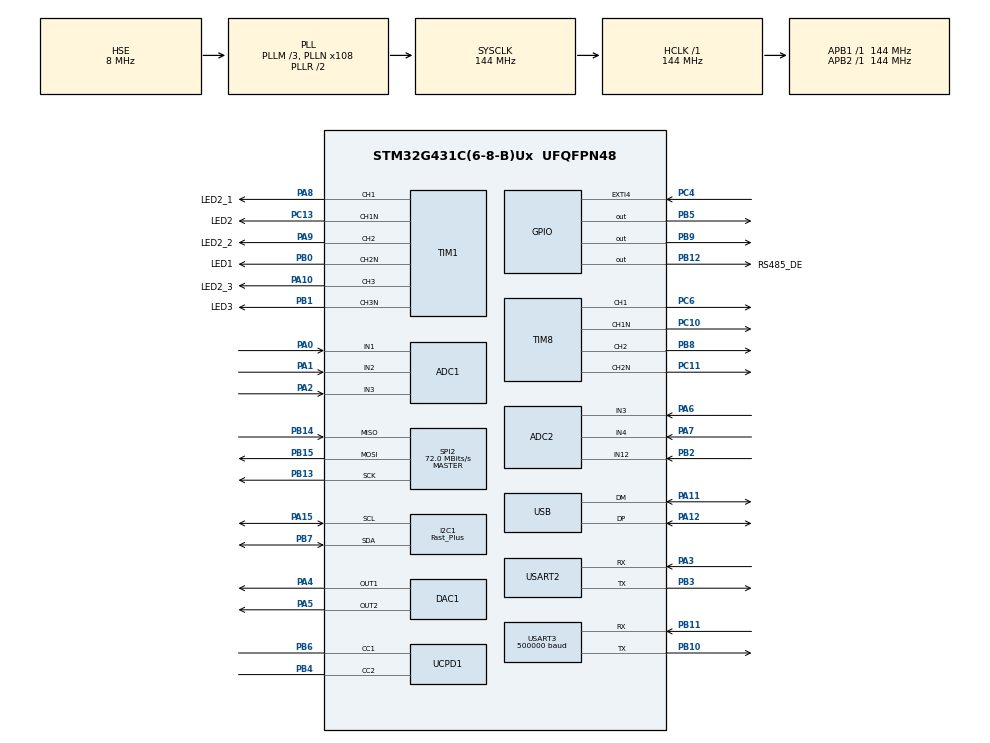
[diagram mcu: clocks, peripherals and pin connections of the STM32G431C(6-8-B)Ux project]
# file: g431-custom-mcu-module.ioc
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ADC1.Channel-0\#ChannelRegularConversion=ADC_CHANNEL_1
ADC1.NbrOfConversionFlag=1
ADC1.OffsetNumber-0\#ChannelRegularConversion=ADC_OFFSET_NONE
ADC1.Rank-0\#ChannelRegularConversion=1
ADC1.SamplingTime-0\#ChannelRegularConversion=ADC_SAMPLETIME_2CYCLES_5
ADC1.master=1
ADC2.Channel-0\#ChannelRegularConversion=ADC_CHANNEL_3
ADC2.NbrOfConversionFlag=1
ADC2.OffsetNumber-0\#ChannelRegularConversion=ADC_OFFSET_NONE
ADC2.Rank-0\#ChannelRegularConversion=1
ADC2.SamplingTime-0\#ChannelRegularConversion=ADC_SAMPLETIME_2CYCLES_5
DAC1.DAC_Channel-DAC_OUT2=DAC_CHANNEL_2
I2C1.I2C_Speed_Mode=I2C_Fast_Plus
I2C1.Timing=0x0070215B
Mcu.Family=STM32G4
Mcu.Name=STM32G431C(6-8-B)Ux
Mcu.Package=UFQFPN48
NVIC.EXTI4_IRQn=true\:0\:0\:false\:false\:true\:true\:true\:true
NVIC.PriorityGroup=NVIC_PRIORITYGROUP_4
NVIC.RNG_IRQn=true\:0\:0\:false\:false\:true\:true\:true\:true
NVIC.UCPD1_IRQn=true\:0\:0\:false\:false\:true\:true\:false\:true
NVIC.USART3_IRQn=true\:0\:0\:false\:false\:true\:true\:true\:true
PA0.Mode=IN1-Single-Ended
PA0.Signal=ADC1_IN1
PA1.Mode=IN2-Single-Ended
PA1.Signal=ADC1_IN2
PA10.GPIO_Label=LED2_3
PA10.Signal=S_TIM1_CH3
PA11.Mode=Device
PA11.Signal=USB_DM
PA12.Mode=Device
PA12.Signal=USB_DP
PA13.Mode=Serial_Wire
PA13.Signal=SYS_JTMS-SWDIO
PA14.Mode=Serial_Wire
PA14.Signal=SYS_JTCK-SWCLK
PA15.Mode=I2C
PA15.Signal=I2C1_SCL
PA2.Mode=IN3-Single-Ended
PA2.Signal=ADC1_IN3
PA3.Mode=Asynchronous
PA3.Signal=USART2_RX
PA4.Signal=COMP_DAC11_group
PA5.Signal=COMP_DAC12_group
PA6.Mode=IN3-Single-Ended
PA6.Signal=ADC2_IN3
PA7.Mode=IN4-Single-Ended
PA7.Signal=ADC2_IN4
PA8.GPIO_Label=LED2_1
PA8.Signal=S_TIM1_CH1
PA9.GPIO_Label=LED2_2
PA9.Signal=S_TIM1_CH2
PB0.GPIO_Label=LED1
PB0.Mode=PWM Generation2 CH2 CH2N
PB0.Signal=TIM1_CH2N
PB1.GPIO_Label=LED3
PB1.Mode=PWM Generation3 CH3 CH3N
PB1.Signal=TIM1_CH3N
PB10.Mode=Asynchronous
PB10.Signal=USART3_TX
PB11.Mode=Asynchronous
PB11.Signal=USART3_RX
PB12.GPIO_Label=RS485_DE
PB12.Signal=GPIO_Output
PB13.Mode=Full_Duplex_Master
PB13.Signal=SPI2_SCK
PB14.Mode=Full_Duplex_Master
PB14.Signal=SPI2_MISO
PB15.Mode=Full_Duplex_Master
PB15.Signal=SPI2_MOSI
PB2.Mode=IN12-Single-Ended
PB2.Signal=ADC2_IN12
PB3.Mode=Asynchronous
PB3.Signal=USART2_TX
PB4.Mode=Dual_Role_AllSignals
PB4.Signal=UCPD1_CC2
PB5.Signal=GPIO_Output
PB6.Mode=Dual_Role_AllSignals
PB6.Signal=UCPD1_CC1
PB7.Mode=I2C
PB7.Signal=I2C1_SDA
PB8-BOOT0.Signal=S_TIM8_CH2
PB9.Signal=GPIO_Output
PC10.Mode=PWM Generation1 CH1 CH1N
PC10.Signal=TIM8_CH1N
PC11.Mode=PWM Generation2 CH2 CH2N
PC11.Signal=TIM8_CH2N
PC13.GPIO_Label=LED2
PC13.Mode=PWM Generation1 CH1 CH1N
PC13.Signal=TIM1_CH1N
PC14-OSC32_IN.Mode=LSE-External-Oscillator
PC14-OSC32_IN.Signal=RCC_OSC32_IN
PC15-OSC32_OUT.Mode=LSE-External-Oscillator
PC15-OSC32_OUT.Signal=RCC_OSC32_OUT
PC4.GPIO_ModeDefaultEXTI=GPIO_MODE_IT_RISING_FALLING
PC4.Signal=GPXTI4
PC6.Signal=S_TIM8_CH1
PF0-OSC_IN.Mode=HSE-External-Oscillator
PF0-OSC_IN.Signal=RCC_OSC_IN
PF1-OSC_OUT.Mode=HSE-External-Oscillator
PF1-OSC_OUT.Signal=RCC_OSC_OUT
ProjectManager.HeapSize=0x200
ProjectManager.StackSize=0x400
ProjectManager.TargetToolchain=MDK-ARM V5.32
RCC.ADC12Freq_Value=144000000
RCC.AHBFreq_Value=144000000
RCC.APB1Freq_Value=144000000
RCC.APB1TimFreq_Value=144000000
RCC.APB2Freq_Value=144000000
RCC.APB2TimFreq_Value=144000000
RCC.CortexFreq_Value=144000000
RCC.EXTERNAL_CLOCK_VALUE=12288000
RCC.HCLKFreq_Value=144000000
RCC.HSE_VALUE=8000000
RCC.HSI48_VALUE=48000000
RCC.HSI_VALUE=16000000
RCC.PLLM=RCC_PLLM_DIV3
RCC.PLLN=108
RCC.PLLQ=RCC_PLLQ_DIV6
RCC.PLLSourceVirtual=RCC_PLLSOURCE_HSE
RCC.SYSCLKFreq_VALUE=144000000
RCC.SYSCLKSource=RCC_SYSCLKSOURCE_PLLCLK
RCC.USBFreq_Value=48000000
RCC.VCOOutputFreq_Value=288000000
SH.COMP_DAC11_group.0=DAC1_OUT1,DAC_OUT1
SH.COMP_DAC12_group.0=DAC1_OUT2,DAC_OUT2
SH.S_TIM1_CH1.0=TIM1_CH1,PWM Generation1 CH1 CH1N
SH.S_TIM1_CH2.0=TIM1_CH2,PWM Generation2 CH2 CH2N
SH.S_TIM1_CH3.0=TIM1_CH3,PWM Generation3 CH3 CH3N
SH.S_TIM8_CH1.0=TIM8_CH1,PWM Generation1 CH1 CH1N
SH.S_TIM8_CH2.0=TIM8_CH2,PWM Generation2 CH2 CH2N
SPI2.CalculateBaudRate=72.0 MBits/s
SPI2.Direction=SPI_DIRECTION_2LINES
SPI2.Mode=SPI_MODE_MASTER
SPI2.VirtualType=VM_MASTER
TIM1.Channel-PWM\ Generation1\ CH1\ CH1N=TIM_CHANNEL_1
TIM1.Channel-PWM\ Generation2\ CH2\ CH2N=TIM_CHANNEL_2
TIM1.Channel-PWM\ Generation3\ CH3\ CH3N=TIM_CHANNEL_3
TIM8.Channel-PWM\ Generation1\ CH1\ CH1N=TIM_CHANNEL_1
TIM8.Channel-PWM\ Generation2\ CH2\ CH2N=TIM_CHANNEL_2
USART2.VirtualMode-Asynchronous=VM_ASYNC
USART3.BaudRate=500000
USART3.VirtualMode-Asynchronous=VM_ASYNC
VP_RNG_VS_RNG.Mode=RNG_Activate
VP_SYS_VS_DBSignals.Mode=DisableDeadBatterySignals
VP_TIM1_VS_ClockSourceINT.Mode=Internal
VP_TIM8_VS_ClockSourceINT.Mode=Internal
board=custom

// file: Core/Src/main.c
/* USER CODE BEGIN Header */
/**
 ******************************************************************************
 * @file           : main.c
 * @brief          : Main program body
 ******************************************************************************
 * @attention
 *
 * Copyright (c) 2023 STMicroelectronics.
 * All rights reserved.
 *
 * This software is licensed under terms that can be found in the LICENSE file
 * in the root directory of this software component.
 * If no LICENSE file comes with this software, it is provided AS-IS.
 *
 ******************************************************************************
 */
/* USER CODE END Header */
#include "main.h"
#include "adc.h"
#include "dac.h"
#include "gpio.h"
#include "i2c.h"
#include "rng.h"
#include "spi.h"
#include "tim.h"
#include "ucpd.h"
#include "usart.h"
#include "usb.h"

/* USER CODE BEGIN Includes */
#include "ring_buffer.h"
/* USER CODE END Includes */

/* USER CODE BEGIN PV */
rb_t ring_buffer = {
    .huart = &huart2,
};
uint8_t flag = 0;
uint32_t random_num;

uint8_t min_index = 1;
uint8_t max_index = 109;
int8_t Y;
/* USER CODE END PV */

void SystemClock_Config(void);
/* USER CODE BEGIN PFP */
int interpret_num(int y);
int ipow(int base, int exp);
int eu_mod(int x, int y);
uint8_t mod(int8_t num)
{
  if (num < 0)
    return -num;
  return num;
}
/* USER CODE END PFP */

int main(void)
{

  /* MCU Configuration--------------------------------------------------------*/

  /* Reset of all peripherals, Initializes the Flash interface and the Systick. */
  HAL_Init();

  /* Configure the system clock */
  SystemClock_Config();

  /* Initialize all configured peripherals */
  MX_GPIO_Init();
  MX_ADC1_Init();
  MX_ADC2_Init();
  MX_DAC1_Init();
  MX_SPI2_Init();
  MX_TIM1_Init();
  MX_TIM8_Init();
  MX_UCPD1_Init();
  MX_USART2_UART_Init();
  MX_USART3_UART_Init();
  MX_USB_PCD_Init();
  MX_I2C1_Init();
  MX_RNG_Init();
  /* USER CODE BEGIN 2 */
  ring_buf_init(&ring_buffer, &huart3);
  HAL_UART_Transmit(&huart3, (uint8_t *)"hello", 6, 1000);

  HAL_SuspendTick();

  HAL_PWR_EnterSTOPMode(PWR_LOWPOWERREGULATOR_ON, PWR_STOPENTRY_WFI);
  SystemClock_Config();
  HAL_ResumeTick();

  HAL_UART_Transmit(&huart3, (uint8_t *)"hello", 6, 1000);
  /* USER CODE END 2 */

  /* Infinite loop */
  while (1)
  {

    /* USER CODE BEGIN 3 */
    HAL_RNG_GenerateRandomNumber(&hrng, &random_num); // generate a random num in range [0 - 0xFFFF FFFF]
    random_num %= ((50 + 1 - 1) + 1);

    uint8_t data[random_num];
    for (uint8_t i = 0; i < random_num; i++)
    {
      data[i] = random_num >> 2;
      ring_buff_put(&ring_buffer, data[i]);
      HAL_Delay(random_num);
      if (ring_buf_get_empty_slots(&ring_buffer) == 0)
      {
        Y = ring_buf_get_head(&ring_buffer);
        int mod_y = mod(Y);
        if (mod_y < 10)
        {
          uint16_t num_of_six;
          uint8_t SSB;
          num_of_six = interpret_num(mod_y);
          SSB = (0xFF00 & num_of_six) >> 8;
          HAL_UART_Transmit(&huart3, (uint8_t *)SSB, 1, 100);
        }
        else
        {
          HAL_UART_Transmit(&huart3, (uint8_t *)Y, 1, 100);
        }
        break;
      }
    }
  }
  /* USER CODE END 3 */
}

void SystemClock_Config(void)
{
  RCC_OscInitTypeDef RCC_OscInitStruct = {0};
  RCC_ClkInitTypeDef RCC_ClkInitStruct = {0};

  /** Configure the main internal regulator output voltage
   */
  HAL_PWREx_ControlVoltageScaling(PWR_REGULATOR_VOLTAGE_SCALE1);

  /** Initializes the RCC Oscillators according to the specified parameters
   * in the RCC_OscInitTypeDef structure.
   */
  RCC_OscInitStruct.OscillatorType = RCC_OSCILLATORTYPE_HSI | RCC_OSCILLATORTYPE_HSE;
  RCC_OscInitStruct.HSEState = RCC_HSE_ON;
  RCC_OscInitStruct.HSIState = RCC_HSI_ON;
  RCC_OscInitStruct.HSICalibrationValue = RCC_HSICALIBRATION_DEFAULT;
  RCC_OscInitStruct.PLL.PLLState = RCC_PLL_ON;
  RCC_OscInitStruct.PLL.PLLSource = RCC_PLLSOURCE_HSE;
  RCC_OscInitStruct.PLL.PLLM = RCC_PLLM_DIV3;
  RCC_OscInitStruct.PLL.PLLN = 108;
  RCC_OscInitStruct.PLL.PLLP = RCC_PLLP_DIV2;
  RCC_OscInitStruct.PLL.PLLQ = RCC_PLLQ_DIV6;
  RCC_OscInitStruct.PLL.PLLR = RCC_PLLR_DIV2;
  if (HAL_RCC_OscConfig(&RCC_OscInitStruct) != HAL_OK)
  {
    Error_Handler();
  }

  /** Initializes the CPU, AHB and APB buses clocks
   */
  RCC_ClkInitStruct.ClockType = RCC_CLOCKTYPE_HCLK | RCC_CLOCKTYPE_SYSCLK | RCC_CLOCKTYPE_PCLK1 | RCC_CLOCKTYPE_PCLK2;
  RCC_ClkInitStruct.SYSCLKSource = RCC_SYSCLKSOURCE_PLLCLK;
  RCC_ClkInitStruct.AHBCLKDivider = RCC_SYSCLK_DIV1;
  RCC_ClkInitStruct.APB1CLKDivider = RCC_HCLK_DIV1;
  RCC_ClkInitStruct.APB2CLKDivider = RCC_HCLK_DIV1;

  if (HAL_RCC_ClockConfig(&RCC_ClkInitStruct, FLASH_LATENCY_4) != HAL_OK)
  {
    Error_Handler();
  }
}

/* USER CODE BEGIN 4 */
void HAL_GPIO_EXTI_Callback(uint16_t pin)
{
  if (pin == GPIO_PIN_4)
  {
    flag = 1;
  }
}

int interpret_num(int y)
{
  // count num of "6" in district with 10 in pow(y) buildings
  // available nums: [1 - 109]
  // num of "6": (11 + 1) for each range [1-109]
  uint32_t buildings_count; // as we can reach 10 in power of 9, use 32bit var;
  uint32_t num_of_ranges;
  uint16_t num_of_nums;
  uint16_t rest;
  uint16_t total;
  // calculate pow(10, Y), as we work with integer, we don't have to use
  // math.h pow func, that uses double
  buildings_count = ipow(10, y);
  // calc num of ranges[1-109]
  if (buildings_count == 1)
  {
    return 0;
  }
  num_of_ranges = buildings_count / 109;
  if (num_of_ranges <= 1)
  {
    num_of_ranges = buildings_count / 10;
    num_of_nums = 1;
    if (num_of_ranges > 6)
      num_of_nums = num_of_ranges + 1;
    return num_of_nums;
  }
  num_of_nums = num_of_ranges * 12;
  rest = eu_mod(buildings_count, 12);
  total = rest + num_of_nums;
  return total;
}

int ipow(int base, int exp)
{
  int result = 1;
  for (;;)
  {
    if (exp & 1)
      result *= base;
    exp >>= 1;
    if (!exp)
      break;
    base *= base;
  }

  return result;
}

// euclidian
int eu_mod(int x, int y)
{
  int r;
  r = x % y;
  if (r < 0)
    r += mod(y);
  return r;
}

/* USER CODE END 4 */

void Error_Handler(void)
{
  __disable_irq();
  while (1)
  {
  }
}
